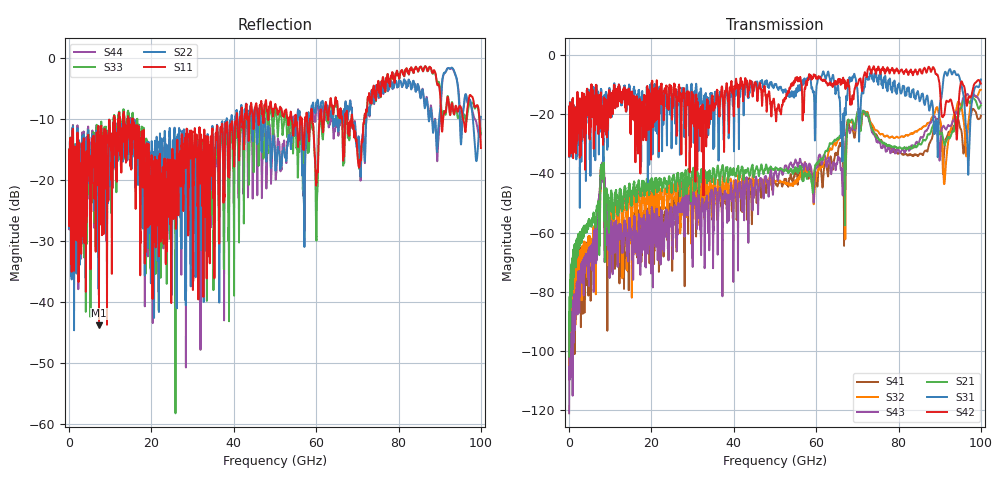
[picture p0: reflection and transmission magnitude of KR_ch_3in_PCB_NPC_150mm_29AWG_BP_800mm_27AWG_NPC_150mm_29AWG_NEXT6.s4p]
# GHz S RI R 45
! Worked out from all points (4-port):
!   4000 points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, 25 MHz to 100 GHz, reference 45 ohm
!   strongest paths, dB at 25 MHz, 25.02 GHz, 50.02 GHz, 75.03 GHz, 100 GHz:
!     S42: -22.2, -20.8, -18.7, -4.1, -9.8
!     S31: -22.2, -16.1, -10.1, -9.6, -8.4
!     S21: -101.8, -43.6, -38.3, -28.3, -17.0
!     S43: -121.0, -58.2, -39.4, -29.6, -16.4
!     S32: -108.0, -52.0, -43.0, -25.8, -11.9
!     S41: -109.2, -66.3, -43.0, -28.0, -20.5
!   lowest |S11| = -43.9 dB at 7.275 GHz (marker M1), VSWR 1.01, Z = 45.2 + j0.542 ohm
!   |S11| at or under -10 dB: start of sweep to 10.89 GHz; 15.45 GHz to 40.64 GHz (25.19 GHz wide, 89.8 % of centre); 68.74 GHz to 71.68 GHz (2.941 GHz wide, 4.19 % of centre) (the widest 3 of 41)
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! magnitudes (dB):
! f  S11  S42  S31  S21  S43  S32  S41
! 25 MHz  -17.5  -22.2  -22.2  -101.8  -121.0  -108.0  -109.2
! 7.275 GHz  -43.9  -16.4  -25.7  -58.4  -50.6  -51.2  -50.6
! 59.55 GHz  -14.9  -6.9  -16.3  -39.3  -44.4  -47.0  -41.6
! 72.05 GHz  -9.3  -6.9  -7.9  -20.4  -20.6  -20.4  -19.9
! 91.25 GHz  -8.8  -18.6  -6.0  -30.4  -24.8  -42.1  -30.2
! 96.85 GHz  -7.7  -15.2  -36.6  -15.2  -13.4  -24.4  -23.9
! 100 GHz  -14.8  -9.8  -8.4  -17.0  -16.4  -11.9  -20.5
